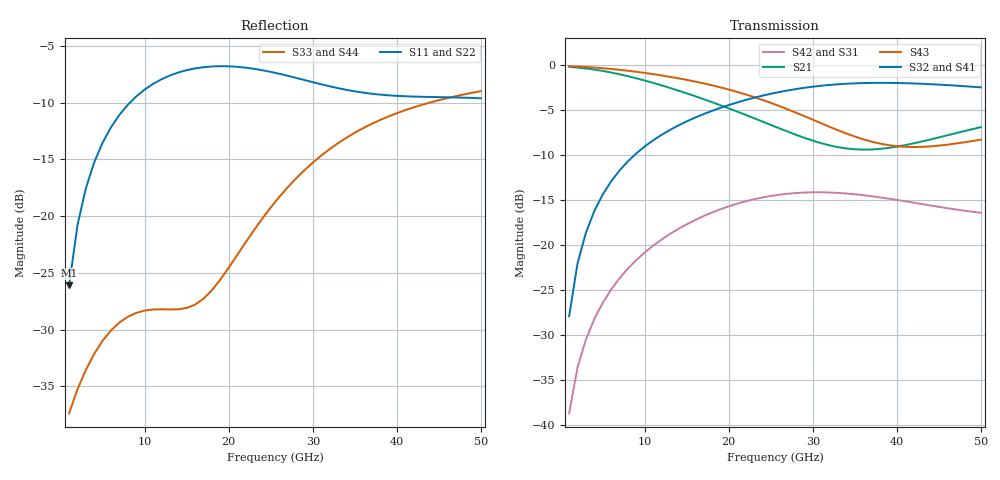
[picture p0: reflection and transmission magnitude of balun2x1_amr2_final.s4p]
! Created with skrf 2.1.0 (http://scikit-rf.org).
# GHz S DB R 50.0
! Port[1] = P1
! Port[2] = P2
! Port[3] = P3
! Port[4] = P4
!freq dBS11 angS11 dBS12 angS12 dBS13 angS13
! dBS14 angS14
! dBS21 angS21 dBS22 angS22 dBS23 angS23
! dBS24 angS24
! dBS31 angS31 dBS32 angS32 dBS33 angS33
! dBS34 angS34
! dBS41 angS41 dBS42 angS42 dBS43 angS43
! dBS44 angS44
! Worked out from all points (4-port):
!   50 points, 1 GHz to 50 GHz, reference 50 ohm
!   strongest paths, dB at 1 GHz, 13 GHz, 26 GHz, 38 GHz, 50 GHz:
!     S32: -27.9, -7.2, -3.0, -2.0, -2.5
!     S41: -27.9, -7.2, -3.0, -2.0, -2.5
!     S43: -0.1, -1.3, -4.5, -8.7, -8.3
!     S21: -0.2, -2.5, -7.0, -9.3, -6.9
!     S42: -38.7, -18.8, -14.4, -14.7, -16.4
!     S31: -38.7, -18.8, -14.6, -14.9, -16.6
!   lowest |S11| = -26.1 dB at 1 GHz (marker M1), VSWR 1.10, Z = 52 + j4.66 ohm
!   |S11| at or under -10 dB: start of sweep to 8.236 GHz
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1  -26.10 64.7  -0.19 -5.3  -38.73 -109.2  -27.93 84.4
   -0.19 -5.3  -26.10 64.6  -27.93 84.4  -38.72 -109.2
   -38.73 -109.2  -27.93 84.4  -37.38 24.4  -0.12 -2.6
   -27.93 84.4  -38.72 -109.2  -0.12 -2.6  -37.38 24.3
4  -15.23 62.4  -0.50 -19.7  -28.24 -133.3  -16.22 73.6
   -0.50 -19.7  -15.24 62.2  -16.22 73.6  -28.23 -133.6
   -28.24 -133.3  -16.22 73.6  -32.12 30.4  -0.27 -9.6
   -16.22 73.6  -28.23 -133.6  -0.27 -9.6  -32.13 30.1
9  -9.44 40.9  -1.47 -42.5  -21.71 -174.0  -9.81 56.0
   -1.47 -42.5  -9.45 40.5  -9.81 56.0  -21.68 -174.6
   -21.71 -174.0  -9.81 56.0  -28.53 3.8  -0.74 -20.7
   -9.81 56.0  -21.68 -174.6  -0.74 -20.7  -28.52 3.3
17  -6.87 9.7  -3.78 -77.4  -16.87 128.1  -5.45 31.8
    -3.78 -77.4  -6.90 8.9  -5.45 31.8  -16.79 127.1
    -16.87 128.1  -5.45 31.8  -27.28 -87.6  -2.03 -36.7
    -5.45 31.8  -16.79 127.1  -2.03 -36.7  -27.10 -88.7
28  -7.81 -18.8  -7.75 -136.3  -14.38 63.4  -2.68 0.7
    -7.75 -136.3  -7.96 -20.3  -2.66 0.5  -14.22 61.8
    -14.38 63.4  -2.66 0.5  -16.68 169.3  -5.29 -52.5
    -2.68 0.7  -14.22 61.8  -5.29 -52.5  -16.49 169.1
37  -9.21 -26.8  -9.38 158.7  -14.79 24.1  -2.01 -24.1
    -9.38 158.7  -9.53 -28.1  -1.98 -24.4  -14.58 21.5
    -14.79 24.1  -1.98 -24.4  -11.87 127.3  -8.51 -47.8
    -2.01 -24.1  -14.58 21.5  -8.51 -47.8  -11.69 127.1
50  -9.61 -37.7  -6.90 89.5  -16.58 -6.6  -2.52 -53.4
    -6.90 89.5  -9.97 -38.2  -2.48 -54.0  -16.42 -11.0
    -16.58 -6.6  -2.48 -54.0  -8.98 89.8  -8.29 -30.6
    -2.52 -53.4  -16.42 -11.0  -8.29 -30.6  -8.81 89.2
